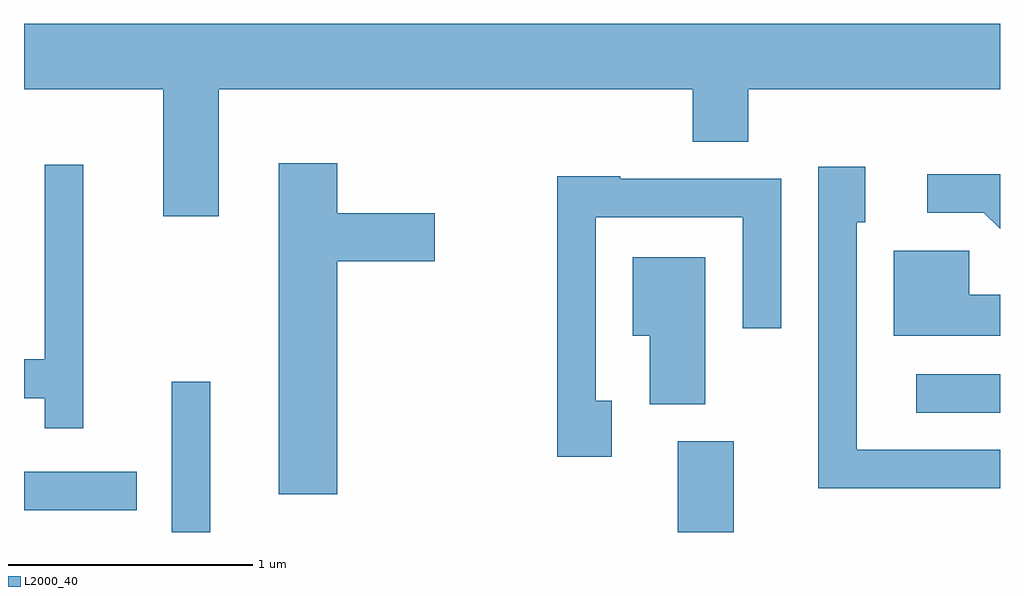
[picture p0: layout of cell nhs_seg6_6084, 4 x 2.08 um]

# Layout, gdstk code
import gdstk
lib = gdstk.Library(unit=1e-6, precision=1e-09)
def R(c, l, rs):  # rectangles x0, y0, x1, y1
    for r in rs: c.add(gdstk.rectangle(r[:2], r[2:], *l))
def P(c, l, *ps):  # polygons
    for p in ps: c.add(gdstk.Polygon(p, *l))
L2000_40 = (2000, 40)

nhs_seg6_6084 = lib.new_cell('nhs_seg6_6084')
R(nhs_seg6_6084, L2000_40, [(370.216,1608.162,370.374,1608.778), (372.291,1608.162,372.519,1608.534), (369.611,1608.251,370.073,1608.409), (373.268,1608.651,373.611,1608.809)])
P(nhs_seg6_6084, L2000_40, [(370.409,1609.976),(372.351,1609.976),(372.351,1609.761),(372.579,1609.761),(372.579,1609.976),(373.611,1609.976),(373.611,1610.244),(369.611,1610.244),(369.611,1609.976),(370.181,1609.976),(370.181,1609.456),(370.409,1609.456)],
  [(370.894,1609.271),(371.294,1609.271),(371.294,1609.469),(370.894,1609.469),(370.894,1609.674),(370.656,1609.674),(370.656,1608.316),(370.894,1608.316)],
  [(369.854,1609.668),(369.696,1609.668),(369.696,1608.869),(369.611,1608.869),(369.611,1608.711),(369.696,1608.711),(369.696,1608.588),(369.854,1608.588)],
  [(373.611,1608.499),(373.024,1608.499),(373.024,1609.431),(373.059,1609.431),(373.059,1609.659),(372.866,1609.659),(372.866,1608.341),(373.611,1608.341)],
  [(373.611,1609.629),(373.313,1609.629),(373.313,1609.471),(373.544,1609.471),(373.611,1609.404)],
  [(372.019,1608.699),(371.954,1608.699),(371.954,1609.451),(372.556,1609.451),(372.556,1608.998),(372.714,1608.998),(372.714,1609.609),(372.055,1609.609),(372.055,1609.619),(371.796,1609.619),(371.796,1608.471),(372.019,1608.471)],
  [(373.611,1609.134),(373.484,1609.134),(373.484,1609.314),(373.176,1609.314),(373.176,1608.966),(373.611,1608.966)],
  [(372.404,1609.289),(372.106,1609.289),(372.106,1608.966),(372.176,1608.966),(372.176,1608.686),(372.404,1608.686)])

lib.write_gds('nhs_seg6_6084.gds')
